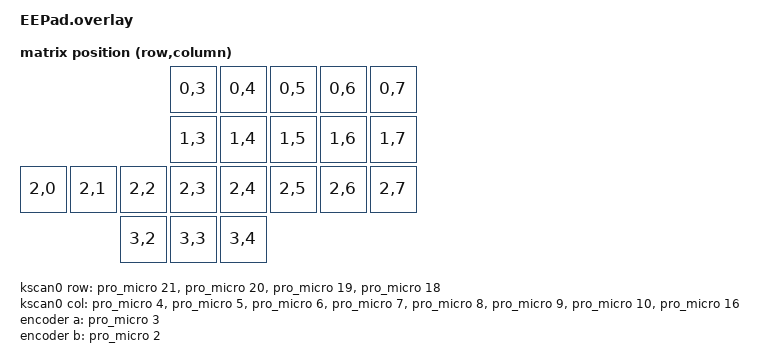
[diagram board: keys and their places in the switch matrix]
/*
 * Copyright (c) 2023 The ZMK Contributors
 *
 * SPDX-License-Identifier: MIT
 */

#include <dt-bindings/zmk/matrix_transform.h>

/ {
    chosen {
        zmk,kscan = &kscan0;
        zmk,matrix-transform = &dual_1u_transform;
    };

    kscan0: kscan {
        compatible = "zmk,kscan-gpio-matrix";
        // define row-gpios with 4 elements and col-gpios with 8...
    };

    default_transform: matrix_transform {
        compatible = "zmk,matrix-transform";
        columns = <8>;
        rows = <4>;
        map = <
                        RC(0,3) RC(0,4) RC(0,5) RC(0,6) RC(0,7) 
                        RC(1,3) RC(1,4) RC(1,5) RC(1,6) RC(1,7) 
RC(2,0) RC(2,1) RC(2,2) RC(2,3) RC(2,4) RC(2,5) RC(2,6) RC(2,7) 
                RC(3,2) RC(3,3) RC(3,4) 
        >;
    };

    kscan0: kscan_0 {
        compatible = "zmk,kscan-gpio-matrix";
        wakeup-source;

        diode-direction = "col2row";

        col-gpios
            = <&pro_micro 4 GPIO_ACTIVE_HIGH>
            , <&pro_micro 5 GPIO_ACTIVE_HIGH>
            , <&pro_micro 6 GPIO_ACTIVE_HIGH>
            , <&pro_micro 7 GPIO_ACTIVE_HIGH>
            , <&pro_micro 8 GPIO_ACTIVE_HIGH>
            , <&pro_micro 9 GPIO_ACTIVE_HIGH>
            , <&pro_micro 10 GPIO_ACTIVE_HIGH>
            , <&pro_micro 16 GPIO_ACTIVE_HIGH>
            ;

        row-gpios
            = <&pro_micro 21 (GPIO_ACTIVE_HIGH | GPIO_PULL_DOWN)>
            , <&pro_micro 20 (GPIO_ACTIVE_HIGH | GPIO_PULL_DOWN)>
            , <&pro_micro 19 (GPIO_ACTIVE_HIGH | GPIO_PULL_DOWN)>
            , <&pro_micro 18 (GPIO_ACTIVE_HIGH | GPIO_PULL_DOWN)>
            ;
    };
    
    encoder: encoder {
        compatible = "alps,ec11";
        a-gpios = <&pro_micro 3 (GPIO_ACTIVE_HIGH | GPIO_PULL_UP)>;
        b-gpios = <&pro_micro 2 (GPIO_ACTIVE_HIGH | GPIO_PULL_UP)>;
        steps = <80>;
        status = "okay";
    };

    sensors: sensors {
        compatible = "zmk,keymap-sensors";
        sensors = <&encoder>;
        triggers-per-rotation = <20>;
    };
};
